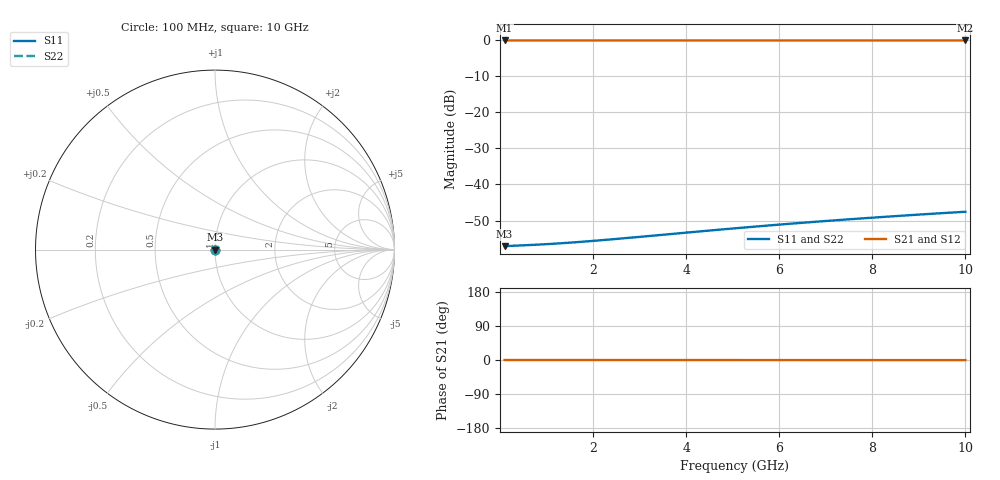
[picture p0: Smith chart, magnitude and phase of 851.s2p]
# Hz S RI R 50.00
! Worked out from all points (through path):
!   100 points, 100 MHz to 10 GHz, reference 50 ohm
!   highest |S21| = -0.01 dB at 100 MHz (marker M1); lowest = 0.0 dB at 10 GHz (marker M2)
!   lowest |S11| = -57.1 dB at 100 MHz (marker M3), VSWR 1.00, Z = 50.1 + j0.00391 ohm
!   |S11| at or under -10 dB: start of sweep to end of sweep
!   |S22| runs from -57.1 to -47.6 dB; largest |S21 - S12| = 0
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1e8  0.00139 3.9e-05  0.9986 -5.13e-05  0.9986 -5.13e-05  0.00139 3.9e-05
2e8  0.0014 7.79e-05  0.9986 -0.000103  0.9986 -0.000103  0.0014 7.79e-05
7e8  0.00142 0.000273  0.9986 -0.000359  0.9986 -0.000359  0.00142 0.000273
1e9  0.00143 0.000389  0.9986 -0.000513  0.9986 -0.000513  0.00143 0.000389
1.2e9  0.00144 0.000467  0.9986 -0.000615  0.9986 -0.000615  0.00144 0.000467
1.4e9  0.00144 0.000545  0.9986 -0.000718  0.9986 -0.000718  0.00144 0.000545
1.8e9  0.00145 0.000701  0.9985 -0.000923  0.9985 -0.000923  0.00145 0.000701
2.1e9  0.00145 0.000818  0.9985 -0.00108  0.9985 -0.00108  0.00145 0.000818
2.5e9  0.00146 0.000974  0.9985 -0.00128  0.9985 -0.00128  0.00146 0.000974
2.9e9  0.00146 0.00113  0.9985 -0.00149  0.9985 -0.00149  0.00146 0.00113
3.4e9  0.00147 0.00132  0.9985 -0.00174  0.9985 -0.00174  0.00147 0.00132
4.4e9  0.00148 0.00171  0.9985 -0.00226  0.9985 -0.00226  0.00148 0.00171
5.1e9  0.00149 0.00199  0.9985 -0.00262  0.9985 -0.00262  0.00149 0.00199
5.9e9  0.00149 0.0023  0.9985 -0.00303  0.9985 -0.00303  0.00149 0.0023
6.3e9  0.00149 0.00245  0.9985 -0.00323  0.9985 -0.00323  0.00149 0.00245
6.7e9  0.0015 0.00261  0.9985 -0.00344  0.9985 -0.00344  0.0015 0.00261
7.1e9  0.0015 0.00277  0.9985 -0.00364  0.9985 -0.00364  0.0015 0.00277
7.5e9  0.0015 0.00292  0.9985 -0.00385  0.9985 -0.00385  0.0015 0.00292
7.9e9  0.00151 0.00308  0.9985 -0.00405  0.9985 -0.00405  0.00151 0.00308
8.4e9  0.00151 0.00327  0.9985 -0.00431  0.9985 -0.00431  0.00151 0.00327
9.2e9  0.00152 0.00358  0.9985 -0.00472  0.9985 -0.00472  0.00152 0.00358
1e10  0.00152 0.0039  0.9985 -0.00513  0.9985 -0.00513  0.00152 0.0039
